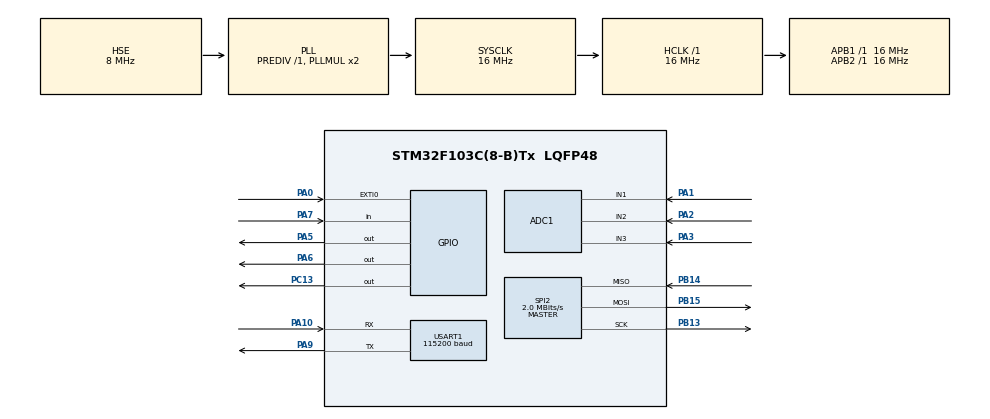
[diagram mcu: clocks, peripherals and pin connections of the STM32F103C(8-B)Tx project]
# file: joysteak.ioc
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ADC1.Channel-0\#ChannelRegularConversion=ADC_CHANNEL_1
ADC1.Channel-1\#ChannelRegularConversion=ADC_CHANNEL_2
ADC1.Channel-10\#ChannelRegularConversion=ADC_CHANNEL_3
ADC1.ContinuousConvMode=DISABLE
ADC1.NbrOfConversion=3
ADC1.NbrOfConversionFlag=1
ADC1.Rank-0\#ChannelRegularConversion=1
ADC1.Rank-1\#ChannelRegularConversion=2
ADC1.Rank-10\#ChannelRegularConversion=3
ADC1.SamplingTime-0\#ChannelRegularConversion=ADC_SAMPLETIME_28CYCLES_5
ADC1.SamplingTime-1\#ChannelRegularConversion=ADC_SAMPLETIME_28CYCLES_5
ADC1.SamplingTime-10\#ChannelRegularConversion=ADC_SAMPLETIME_28CYCLES_5
ADC1.master=1
Dma.ADC1.0.Direction=DMA_PERIPH_TO_MEMORY
Dma.ADC1.0.Instance=DMA1_Channel1
Dma.ADC1.0.MemDataAlignment=DMA_MDATAALIGN_WORD
Dma.ADC1.0.MemInc=DMA_MINC_ENABLE
Dma.ADC1.0.Mode=DMA_CIRCULAR
Dma.ADC1.0.PeriphDataAlignment=DMA_PDATAALIGN_WORD
Dma.ADC1.0.PeriphInc=DMA_PINC_DISABLE
Dma.ADC1.0.Priority=DMA_PRIORITY_MEDIUM
Dma.Request0=ADC1
Mcu.Family=STM32F1
Mcu.Name=STM32F103C(8-B)Tx
Mcu.Package=LQFP48
NVIC.ADC1_2_IRQn=true\:2\:0\:true\:false\:true\:true\:true
NVIC.DMA1_Channel1_IRQn=true\:0\:0\:false\:false\:true\:false\:true
NVIC.EXTI0_IRQn=true\:1\:0\:true\:false\:true\:true\:true
NVIC.PriorityGroup=NVIC_PRIORITYGROUP_4
NVIC.SPI2_IRQn=true\:3\:0\:true\:false\:true\:true\:true
NVIC.USART1_IRQn=true\:3\:0\:true\:false\:true\:true\:true
PA0-WKUP.Signal=GPXTI0
PA1.Signal=ADCx_IN1
PA10.Mode=Asynchronous
PA10.Signal=USART1_RX
PA13.Mode=Trace_Asynchronous_SW
PA13.Signal=SYS_JTMS-SWDIO
PA14.Mode=Trace_Asynchronous_SW
PA14.Signal=SYS_JTCK-SWCLK
PA2.Signal=ADCx_IN2
PA3.Signal=ADCx_IN3
PA5.Signal=GPIO_Output
PA6.Signal=GPIO_Output
PA7.Signal=GPIO_Input
PA9.Mode=Asynchronous
PA9.Signal=USART1_TX
PB13.Mode=Full_Duplex_Master
PB13.Signal=SPI2_SCK
PB14.Mode=Full_Duplex_Master
PB14.Signal=SPI2_MISO
PB15.Mode=Full_Duplex_Master
PB15.Signal=SPI2_MOSI
PB3.Mode=Trace_Asynchronous_SW
PB3.Signal=SYS_JTDO-TRACESWO
PC13-TAMPER-RTC.Signal=GPIO_Output
PD0-OSC_IN.Mode=HSE-External-Oscillator
PD0-OSC_IN.Signal=RCC_OSC_IN
PD1-OSC_OUT.Mode=HSE-External-Oscillator
PD1-OSC_OUT.Signal=RCC_OSC_OUT
ProjectManager.HeapSize=0x200
ProjectManager.StackSize=0x400
ProjectManager.TargetToolchain=MDK-ARM V5
RCC.AHBFreq_Value=16000000
RCC.APB1Freq_Value=16000000
RCC.APB1TimFreq_Value=16000000
RCC.APB2Freq_Value=16000000
RCC.APB2TimFreq_Value=16000000
RCC.HCLKFreq_Value=16000000
RCC.PLLSourceVirtual=RCC_PLLSOURCE_HSE
RCC.SYSCLKFreq_VALUE=16000000
RCC.SYSCLKSource=RCC_SYSCLKSOURCE_PLLCLK
RCC.USBFreq_Value=16000000
SH.ADCx_IN1.0=ADC1_IN1,IN1
SH.ADCx_IN2.0=ADC1_IN2,IN2
SH.ADCx_IN3.0=ADC1_IN3,IN3
SPI2.BaudRatePrescaler=SPI_BAUDRATEPRESCALER_8
SPI2.CalculateBaudRate=2.0 MBits/s
SPI2.Direction=SPI_DIRECTION_2LINES
SPI2.Mode=SPI_MODE_MASTER
SPI2.VirtualType=VM_MASTER
USART1.BaudRate=115200
USART1.VirtualMode=VM_ASYNC
board=custom

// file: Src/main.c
/* USER CODE BEGIN Header */
/**
  ******************************************************************************
  * @file           : main.c
  * @brief          : Main program body
  ******************************************************************************
  * @attention
  *
  * <h2><center>&copy; Copyright (c) 2019 STMicroelectronics.
  * All rights reserved.</center></h2>
  *
  * This software component is licensed by ST under BSD 3-Clause license,
  * the "License"; You may not use this file except in compliance with the
  * License. You may obtain a copy of the License at:
  *                        opensource.org/licenses/BSD-3-Clause
  *
  ******************************************************************************
  */
/* USER CODE END Header */

#include "main.h"

/* USER CODE BEGIN Includes */
#include <stdbool.h>
#include "nrf24.h"
#include "nrf24_hal.h"
/* USER CODE END Includes */

/* USER CODE BEGIN PTD */
#ifdef __GNUC__
/* With GCC/RAISONANCE, small printf (option LD Linker->Libraries->Small printf
   set to 'Yes') calls __io_putchar() */
#define PUTCHAR_PROTOTYPE int __io_putchar(int ch)
#else
#define PUTCHAR_PROTOTYPE int fputc(int ch, FILE *f)
#endif /* __GNUC__ */

uint16_t j=0;
uint32_t ADC_BUF[3];
uint8_t ADC_BUF_8b[10];
bool  AdcRequesStart=false;

uint8_t Ident[10]={1,0,0,0,0,0,0,0,0,0};
uint8_t cw=0;
	uint8_t monitoreFlag=0;

    static const uint8_t nRF24_ADDR0[] = { 0x01,0x01,0xE7, 0x1C, 0xE1};
		static const uint8_t nRF24_ADDR1[] = {  0x01,0x01,0xE7, 0x1C, 0xE2 };
		static const uint8_t nRF24_ADDR2[] = {  0x01,0x01,0xE7, 0x1C, 0xE3 };
		static const uint8_t nRF24_ADDR3[] = {  0x01,0x01,0xE7, 0x1C, 0xE4 };
		static const uint8_t nRF24_ADDR4[] = {  0x01,0x01,0xE7, 0x1C, 0xE5 };
		static const uint8_t nRF24_ADDR5[] = {  0x01,0x01,0xE7, 0x1C, 0xE6 };

#define  _MotorPwmDevider 20
#define  _MotorPwmPeriod 100
#define  _JoystickMax 4096
#define  _JoystickMin 0
#define  _JoystickZero 3020
#define  _JoystickUnderZero 2900
#define  _JoystickUpToZero 3100

/****************nrf****************/
uint8_t payload_length=10;
uint32_t i,k;
uint8_t nRF24_payload[10];
nRF24_RXResult pipe;
#define nRF24_WAIT_TIMEOUT         (uint32_t)0x000FFFFF

typedef enum {
	nRF24_TX_ERROR  = (uint8_t)0x00, // Unknown error
	nRF24_TX_SUCCESS,                // Packet has been transmitted successfully
	nRF24_TX_TIMEOUT,                // It was timeout during packet transmit
	nRF24_TX_MAXRT                   // Transmit failed with maximum auto retransmit count
} nRF24_TXResult;

nRF24_TXResult tx_res;

nRF24_TXResult nRF24_TransmitPacket(uint8_t *pBuf, uint8_t length) {
	volatile uint32_t wait = nRF24_WAIT_TIMEOUT;
	uint8_t status;

	// Deassert the CE pin (in case if it still high)
	nRF24_CE_L();

	// Transfer a data from the specified buffer to the TX FIFO
	nRF24_WritePayload(pBuf, length);

	// Start a transmission by asserting CE pin (must be held at least 10us)
	nRF24_CE_H();

	// Poll the transceiver status register until one of the following flags will be set:
	//   TX_DS  - means the packet has been transmitted
	//   MAX_RT - means the maximum number of TX retransmits happened
	// note: this solution is far from perfect, better to use IRQ instead of polling the status
	do {
		status = nRF24_GetStatus();
		if (status & (nRF24_FLAG_TX_DS | nRF24_FLAG_MAX_RT)) {
			break;
		}
	} while (wait--);

	// Deassert the CE pin (Standby-II --> Standby-I)
	nRF24_CE_L();

	if (!wait) {
		// Timeout
		return nRF24_TX_TIMEOUT;
	}

	// Check the flags in STATUS register
	printf("[");
	printf("%d",status);
	printf("] ");

	// Clear pending IRQ flags
    nRF24_ClearIRQFlags();

	if (status & nRF24_FLAG_MAX_RT) {
		// Auto retransmit counter exceeds the programmed maximum limit (FIFO is not removed)
		return nRF24_TX_MAXRT;
	}

	if (status & nRF24_FLAG_TX_DS) {
		// Successful transmission
		return nRF24_TX_SUCCESS;
	}

	// Some banana happens, a payload remains in the TX FIFO, flush it
	nRF24_FlushTX();

	return nRF24_TX_ERROR;
}

/****************nrf****************/
/* USER CODE END PTD */

ADC_HandleTypeDef hadc1;
DMA_HandleTypeDef hdma_adc1;

SPI_HandleTypeDef hspi2;

UART_HandleTypeDef huart1;

void SystemClock_Config(void);
static void MX_GPIO_Init(void);
static void MX_DMA_Init(void);
static void MX_USART1_UART_Init(void);
static void MX_ADC1_Init(void);
static void MX_SPI2_Init(void);
/* USER CODE BEGIN PFP */
uint8_t SerialModule[4];
/* USER CODE END PFP */

/* USER CODE BEGIN 0 */

void HAL_ADC_ConvCpltCallback(ADC_HandleTypeDef* hadc){
uint32_t val[3];

	val[0]=ADC_BUF[0];
	val[1]=ADC_BUF[1];
	val[2]=ADC_BUF[2];

	ADC_BUF_8b[0]=ADC_BUF[0]>>8;
	ADC_BUF_8b[1]=ADC_BUF[0];
	ADC_BUF_8b[2]=ADC_BUF[1]>>8;
	ADC_BUF_8b[3]=ADC_BUF[1];
	ADC_BUF_8b[4]=ADC_BUF[2]>>8;
	ADC_BUF_8b[5]=ADC_BUF[2];
	printf("%d:Bt=%d Y=%d X=%d \r\n",j, val[0],val[1],val[2]);

}

PUTCHAR_PROTOTYPE
{
  /* Place your implementation of fputc here */
  /* e.g. write a character to the USART1 and Loop until the end of transmission */
  HAL_UART_Transmit(&huart1, (uint8_t *)&ch, 1, 0xFFFF);

  return ch;
}

/* USER CODE END 0 */

int main(void)
{
  /* USER CODE BEGIN 1 */
	volatile uint32_t *UniqueID = (uint32_t *)0x1FFFF7E8;
	volatile uint32_t __UniqueID[3];
	__UniqueID[0] = UniqueID[0];
	__UniqueID[1] = UniqueID[1];
	__UniqueID[2] = UniqueID[2];

	SerialModule[0]=__UniqueID[2];
	SerialModule[1]=__UniqueID[2]>>8;
	SerialModule[2]=__UniqueID[2]>>16;
	SerialModule[3]=__UniqueID[2]>>24;
	Ident[1]=SerialModule[0];
	Ident[2]=SerialModule[1];

  /* USER CODE END 1 */

  /* MCU Configuration--------------------------------------------------------*/

  /* Reset of all peripherals, Initializes the Flash interface and the Systick. */
  HAL_Init();

  /* Configure the system clock */
  SystemClock_Config();

  /* Initialize all configured peripherals */
  MX_GPIO_Init();
  MX_DMA_Init();
  MX_USART1_UART_Init();
  MX_ADC1_Init();
  MX_SPI2_Init();
  /* USER CODE BEGIN 2 */

__HAL_UART_ENABLE_IT(&huart1, UART_IT_RXNE);

//HAL_Delay(5000);

/****************nrf****************/
printf("\r\nSTM32F103RET6 is online.\r\n");

    // RX/TX disabled
    nRF24_CE_L();

		 HAL_GPIO_WritePin(GPIOC, GPIO_PIN_13, GPIO_PIN_SET);
		    // Configure the nRF24L01+
    printf("nRF24L01+ check: ");

    while (!nRF24_Check()) {
    	printf("FAIL\r\n");
			HAL_Delay(1000);
    }

	printf("OK\r\n");
		 HAL_GPIO_WritePin(GPIOC, GPIO_PIN_13, GPIO_PIN_RESET);
		  // Initialize the nRF24L01 to its default state
    nRF24_Init();

    // This is simple transmitter (to multiple logic addresses):
	//   - TX addresses and payload lengths:
    //       'WBC', 11 bytes
    //       '0xE7 0x1C 0xE3', 5 bytes
    //       '0xE7 0x1C 0xE6', 32 bytes
	//   - RF channel: 115 (2515MHz)
	//   - data rate: 250kbps (minimum possible, to increase reception reliability)
	//   - CRC scheme: 2 byte

    // The transmitter sends a data packets to the three logic addresses without Auto-ACK (ShockBurst disabled)
    // The payload length depends on the logic address

    // Disable ShockBurst for all RX pipes

   nRF24_DisableAA(0xFF);

    // Set RF channel
    nRF24_SetRFChannel(115);

    // Set data rate
    nRF24_SetDataRate(nRF24_DR_2Mbps);

    // Set CRC scheme
    nRF24_SetCRCScheme(nRF24_CRC_2byte);

    // Set address width, its common for all pipes (RX and TX)
    nRF24_SetAddrWidth(5);

    // Set TX power (maximum)
    nRF24_SetTXPower(nRF24_TXPWR_0dBm);

		nRF24_SetAddr(nRF24_PIPETX, nRF24_ADDR1);

		nRF24_SetAddr(nRF24_PIPE0, nRF24_ADDR0); // program address for RX pipe #0
		nRF24_SetAddr(nRF24_PIPE1, nRF24_ADDR1); // program address for RX pipe #1
		nRF24_SetAddr(nRF24_PIPE2, nRF24_ADDR2); // program address for RX pipe #2
		nRF24_SetAddr(nRF24_PIPE3, nRF24_ADDR3); // program address for RX pipe #3
		nRF24_SetAddr(nRF24_PIPE4, nRF24_ADDR4); // program address for RX pipe #4
		nRF24_SetAddr(nRF24_PIPE5, nRF24_ADDR5); // program address for RX pipe #5

//nRF24_SetAutoRetr(nRF24_ARD_2500us, 10); // configure auto retransmit: 10 retransmissions with pause of 2500s in between
//nRF24_EnableAA(nRF24_PIPE1); // enable Auto-ACK for pipe#0 (for ACK packets)

nRF24_SetOperationalMode(nRF24_MODE_TX); // switch transceiver to the TX mode
  nRF24_ClearIRQFlags();
nRF24_SetPowerMode(nRF24_PWR_UP); // wake-up transceiver (in case if it sleeping)
// the nRF24 is ready for transmission, upload a payload, then pull CE pin to HIGH and it will transmit a packet...

    // The main loop
    j = 0; pipe = 0;

/****************nrf****************/
				HAL_ADC_Start_DMA(&hadc1,(uint32_t*)ADC_BUF,3);
			HAL_ADC_Start_IT(&hadc1);
			//payload_length = 6;
  /* USER CODE END 2 */

  /* Infinite loop */
  /* USER CODE BEGIN WHILE */
uint8_t m=0;
  while (1)
  {

			HAL_ADC_Start_IT(&hadc1);

		Ident[4]=ADC_BUF_8b[0];
		Ident[5]=ADC_BUF_8b[1];
		Ident[6]=ADC_BUF_8b[2];
		Ident[7]=ADC_BUF_8b[3];
		Ident[8]=ADC_BUF_8b[4];
		Ident[9]=ADC_BUF_8b[5];

    	// Transmit a packet
    	tx_res = nRF24_TransmitPacket(Ident, payload_length);

//		if(monitoreFlag==1){
//					nRF24_SetAddr(nRF24_PIPETX, nRF24_ADDR2);
//	  nRF24_TransmitPacket(Ident, 10);
//		monitoreFlag=0;
//	}

    	HAL_Delay(200 );

    }

		/****************nrf****************/
		/*
		if(AdcRequesStart==true && j<=100){

				    	// Print a payload
    	//printf("PAYLOAD:>");
    	//printf("< ... TX: ");

    	// Transmit a packet
    	tx_res = nRF24_TransmitPacket(ADC_BUF_8b, payload_length);
    	switch (tx_res) {
			case nRF24_TX_SUCCESS:
				printf("OK");
				break;
			case nRF24_TX_TIMEOUT:
				printf("TIMEOUT");
				break;
			case nRF24_TX_MAXRT:
				printf("MAX RETRANSMIT");
				break;
			default:
				printf("ERROR");
				break;
		}
    	printf("\r\n");

	HAL_ADC_Start_IT(&hadc1);
			j++;
			HAL_Delay(2000);
		}
		else{
				j=0;
				AdcRequesStart=false;
				HAL_ADC_Stop(&hadc1);

		}

		if(AdcRequesStart==false)
		{
		HAL_Delay(5000);
		AdcRequesStart=true;
		}
		*/
    /* USER CODE END WHILE */

  }

void SystemClock_Config(void)
{
  RCC_OscInitTypeDef RCC_OscInitStruct = {0};
  RCC_ClkInitTypeDef RCC_ClkInitStruct = {0};
  RCC_PeriphCLKInitTypeDef PeriphClkInit = {0};

  /** Initializes the CPU, AHB and APB busses clocks
  */
  RCC_OscInitStruct.OscillatorType = RCC_OSCILLATORTYPE_HSE;
  RCC_OscInitStruct.HSEState = RCC_HSE_ON;
  RCC_OscInitStruct.HSEPredivValue = RCC_HSE_PREDIV_DIV1;
  RCC_OscInitStruct.HSIState = RCC_HSI_ON;
  RCC_OscInitStruct.PLL.PLLState = RCC_PLL_ON;
  RCC_OscInitStruct.PLL.PLLSource = RCC_PLLSOURCE_HSE;
  RCC_OscInitStruct.PLL.PLLMUL = RCC_PLL_MUL2;
  if (HAL_RCC_OscConfig(&RCC_OscInitStruct) != HAL_OK)
  {
    Error_Handler();
  }
  /** Initializes the CPU, AHB and APB busses clocks
  */
  RCC_ClkInitStruct.ClockType = RCC_CLOCKTYPE_HCLK|RCC_CLOCKTYPE_SYSCLK
                              |RCC_CLOCKTYPE_PCLK1|RCC_CLOCKTYPE_PCLK2;
  RCC_ClkInitStruct.SYSCLKSource = RCC_SYSCLKSOURCE_PLLCLK;
  RCC_ClkInitStruct.AHBCLKDivider = RCC_SYSCLK_DIV1;
  RCC_ClkInitStruct.APB1CLKDivider = RCC_HCLK_DIV1;
  RCC_ClkInitStruct.APB2CLKDivider = RCC_HCLK_DIV1;

  if (HAL_RCC_ClockConfig(&RCC_ClkInitStruct, FLASH_LATENCY_0) != HAL_OK)
  {
    Error_Handler();
  }
  PeriphClkInit.PeriphClockSelection = RCC_PERIPHCLK_ADC;
  PeriphClkInit.AdcClockSelection = RCC_ADCPCLK2_DIV2;
  if (HAL_RCCEx_PeriphCLKConfig(&PeriphClkInit) != HAL_OK)
  {
    Error_Handler();
  }
}

static void MX_ADC1_Init(void)
{

  ADC_ChannelConfTypeDef sConfig = {0};

  /** Common config
  */
  hadc1.Instance = ADC1;
  hadc1.Init.ScanConvMode = ADC_SCAN_ENABLE;
  hadc1.Init.ContinuousConvMode = DISABLE;
  hadc1.Init.DiscontinuousConvMode = DISABLE;
  hadc1.Init.ExternalTrigConv = ADC_SOFTWARE_START;
  hadc1.Init.DataAlign = ADC_DATAALIGN_RIGHT;
  hadc1.Init.NbrOfConversion = 3;
  if (HAL_ADC_Init(&hadc1) != HAL_OK)
  {
    Error_Handler();
  }
  /** Configure Regular Channel
  */
  sConfig.Channel = ADC_CHANNEL_1;
  sConfig.Rank = ADC_REGULAR_RANK_1;
  sConfig.SamplingTime = ADC_SAMPLETIME_28CYCLES_5;
  if (HAL_ADC_ConfigChannel(&hadc1, &sConfig) != HAL_OK)
  {
    Error_Handler();
  }
  /** Configure Regular Channel
  */
  sConfig.Channel = ADC_CHANNEL_2;
  sConfig.Rank = ADC_REGULAR_RANK_2;
  if (HAL_ADC_ConfigChannel(&hadc1, &sConfig) != HAL_OK)
  {
    Error_Handler();
  }
  /** Configure Regular Channel
  */
  sConfig.Channel = ADC_CHANNEL_3;
  sConfig.Rank = ADC_REGULAR_RANK_3;
  if (HAL_ADC_ConfigChannel(&hadc1, &sConfig) != HAL_OK)
  {
    Error_Handler();
  }

}

static void MX_SPI2_Init(void)
{

  /* SPI2 parameter configuration*/
  hspi2.Instance = SPI2;
  hspi2.Init.Mode = SPI_MODE_MASTER;
  hspi2.Init.Direction = SPI_DIRECTION_2LINES;
  hspi2.Init.DataSize = SPI_DATASIZE_8BIT;
  hspi2.Init.CLKPolarity = SPI_POLARITY_LOW;
  hspi2.Init.CLKPhase = SPI_PHASE_1EDGE;
  hspi2.Init.NSS = SPI_NSS_SOFT;
  hspi2.Init.BaudRatePrescaler = SPI_BAUDRATEPRESCALER_8;
  hspi2.Init.FirstBit = SPI_FIRSTBIT_MSB;
  hspi2.Init.TIMode = SPI_TIMODE_DISABLE;
  hspi2.Init.CRCCalculation = SPI_CRCCALCULATION_DISABLE;
  hspi2.Init.CRCPolynomial = 10;
  if (HAL_SPI_Init(&hspi2) != HAL_OK)
  {
    Error_Handler();
  }

}

static void MX_USART1_UART_Init(void)
{

  huart1.Instance = USART1;
  huart1.Init.BaudRate = 115200;
  huart1.Init.WordLength = UART_WORDLENGTH_8B;
  huart1.Init.StopBits = UART_STOPBITS_1;
  huart1.Init.Parity = UART_PARITY_NONE;
  huart1.Init.Mode = UART_MODE_TX_RX;
  huart1.Init.HwFlowCtl = UART_HWCONTROL_NONE;
  huart1.Init.OverSampling = UART_OVERSAMPLING_16;
  if (HAL_UART_Init(&huart1) != HAL_OK)
  {
    Error_Handler();
  }

}

static void MX_DMA_Init(void)
{
  /* DMA controller clock enable */
  __HAL_RCC_DMA1_CLK_ENABLE();

  /* DMA interrupt init */
  /* DMA1_Channel1_IRQn interrupt configuration */
  HAL_NVIC_SetPriority(DMA1_Channel1_IRQn, 0, 0);
  HAL_NVIC_EnableIRQ(DMA1_Channel1_IRQn);

}

static void MX_GPIO_Init(void)
{
  GPIO_InitTypeDef GPIO_InitStruct = {0};

  /* GPIO Ports Clock Enable */
  __HAL_RCC_GPIOC_CLK_ENABLE();
  __HAL_RCC_GPIOD_CLK_ENABLE();
  __HAL_RCC_GPIOA_CLK_ENABLE();
  __HAL_RCC_GPIOB_CLK_ENABLE();

  /*Configure GPIO pin Output Level */
  HAL_GPIO_WritePin(GPIOC, GPIO_PIN_13, GPIO_PIN_RESET);

  /*Configure GPIO pin Output Level */
  HAL_GPIO_WritePin(GPIOA, GPIO_PIN_5|GPIO_PIN_6, GPIO_PIN_RESET);

  /*Configure GPIO pin : PC13 */
  GPIO_InitStruct.Pin = GPIO_PIN_13;
  GPIO_InitStruct.Mode = GPIO_MODE_OUTPUT_PP;
  GPIO_InitStruct.Pull = GPIO_NOPULL;
  GPIO_InitStruct.Speed = GPIO_SPEED_FREQ_LOW;
  HAL_GPIO_Init(GPIOC, &GPIO_InitStruct);

  /*Configure GPIO pin : PA0 */
  GPIO_InitStruct.Pin = GPIO_PIN_0;
  GPIO_InitStruct.Mode = GPIO_MODE_IT_RISING;
  GPIO_InitStruct.Pull = GPIO_NOPULL;
  HAL_GPIO_Init(GPIOA, &GPIO_InitStruct);

  /*Configure GPIO pins : PA5 PA6 */
  GPIO_InitStruct.Pin = GPIO_PIN_5|GPIO_PIN_6;
  GPIO_InitStruct.Mode = GPIO_MODE_OUTPUT_PP;
  GPIO_InitStruct.Pull = GPIO_NOPULL;
  GPIO_InitStruct.Speed = GPIO_SPEED_FREQ_LOW;
  HAL_GPIO_Init(GPIOA, &GPIO_InitStruct);

  /*Configure GPIO pin : PA7 */
  GPIO_InitStruct.Pin = GPIO_PIN_7;
  GPIO_InitStruct.Mode = GPIO_MODE_INPUT;
  GPIO_InitStruct.Pull = GPIO_NOPULL;
  HAL_GPIO_Init(GPIOA, &GPIO_InitStruct);

  /* EXTI interrupt init*/
  HAL_NVIC_SetPriority(EXTI0_IRQn, 1, 0);
  HAL_NVIC_EnableIRQ(EXTI0_IRQn);

}

void Error_Handler(void)
{
}

/************************ (C) COPYRIGHT STMicroelectronics *****END OF FILE****/
